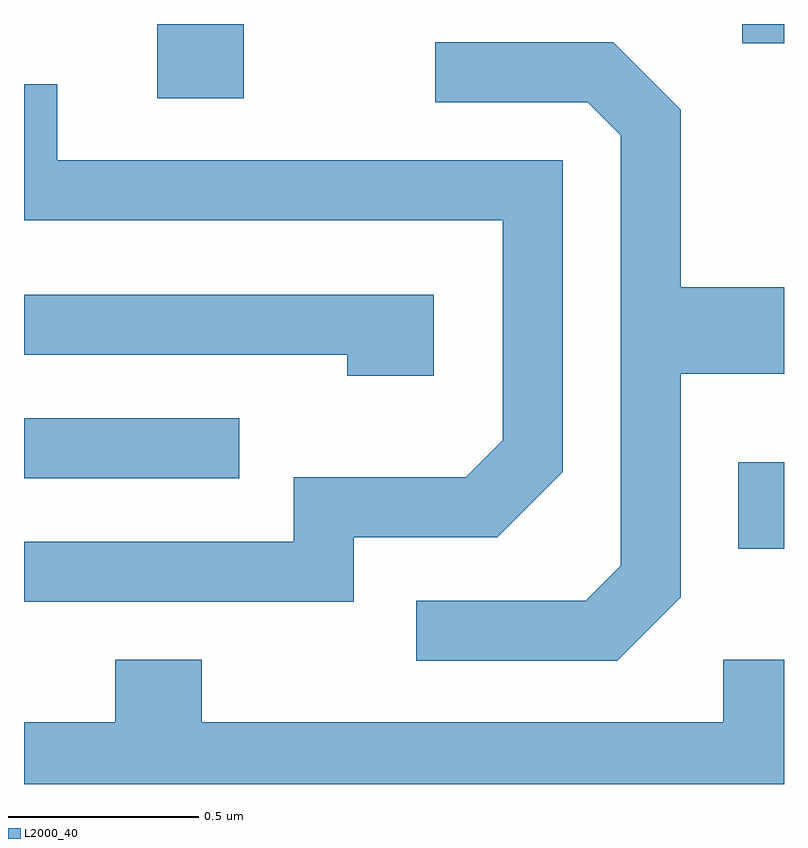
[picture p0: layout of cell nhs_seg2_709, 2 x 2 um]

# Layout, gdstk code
import gdstk
lib = gdstk.Library(unit=1e-6, precision=1e-09)
def R(c, l, rs):  # rectangles x0, y0, x1, y1
    for r in rs: c.add(gdstk.rectangle(r[:2], r[2:], *l))
def P(c, l, *ps):  # polygons
    for p in ps: c.add(gdstk.Polygon(p, *l))
L2000_40 = (2000, 40)

nhs_seg2_709 = lib.new_cell('nhs_seg2_709')
R(nhs_seg2_709, L2000_40, [(192.491,1002.421,192.611,1002.649), (190.611,1002.606,191.178,1002.764), (190.961,1003.606,191.189,1003.802), (192.501,1003.751,192.611,1003.802)])
P(nhs_seg2_709, L2000_40, [(192.339,1002.294),(192.339,1002.881),(192.611,1002.881),(192.611,1003.109),(192.339,1003.109),(192.339,1003.577),(192.162,1003.754),(191.693,1003.754),(191.693,1003.596),(192.094,1003.596),(192.181,1003.509),(192.181,1002.377),(192.089,1002.284),(191.643,1002.284),(191.643,1002.126),(192.172,1002.126)],
  [(191.479,1002.451),(191.857,1002.451),(192.029,1002.624),(192.029,1003.444),(190.699,1003.444),(190.699,1003.643),(190.611,1003.643),(190.611,1003.286),(191.871,1003.286),(191.871,1002.707),(191.774,1002.609),(191.321,1002.609),(191.321,1002.439),(190.611,1002.439),(190.611,1002.281),(191.479,1002.281)],
  [(191.689,1003.089),(190.611,1003.089),(190.611,1002.931),(191.461,1002.931),(191.461,1002.876),(191.689,1002.876)],
  [(192.611,1002.129),(192.451,1002.129),(192.451,1001.964),(191.079,1001.964),(191.079,1002.129),(190.851,1002.129),(190.851,1001.964),(190.611,1001.964),(190.611,1001.802),(192.611,1001.802)])

lib.write_gds('nhs_seg2_709.gds')
